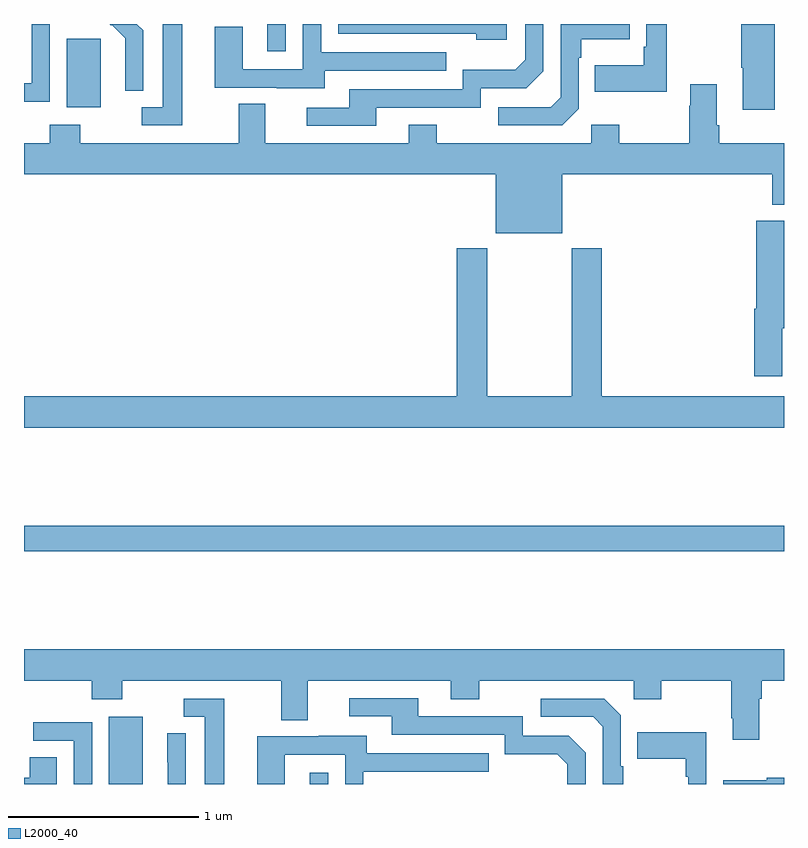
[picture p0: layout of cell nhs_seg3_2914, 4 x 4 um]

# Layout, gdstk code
import gdstk
lib = gdstk.Library(unit=1e-6, precision=1e-09)
def R(c, l, rs):  # rectangles x0, y0, x1, y1
    for r in rs: c.add(gdstk.rectangle(r[:2], r[2:], *l))
def P(c, l, *ps):  # polygons
    for p in ps: c.add(gdstk.Polygon(p, *l))
L2000_40 = (2000, 40)

nhs_seg3_2914 = lib.new_cell('nhs_seg3_2914')
R(nhs_seg3_2914, L2000_40, [(263.447,672.4,263.626,672.754), (264.503,672.4,264.6,672.46), (263,673.624,267,673.76), (263.225,675.962,263.404,676.323), (264.281,676.257,264.378,676.4)])
P(nhs_seg3_2914, L2000_40, [(266.951,676.4),(266.776,676.4),(266.776,676.171),(266.783,676.171),(266.783,675.948),(266.951,675.948)],
  [(264.853,675.96),(265.404,675.96),(265.404,676.062),(265.644,676.062),(265.734,676.152),(265.734,676.4),(265.638,676.4),(265.638,676.212),(265.585,676.159),(265.308,676.159),(265.308,676.056),(264.713,676.056),(264.713,675.96),(264.489,675.96),(264.489,675.864),(264.853,675.864)],
  [(263.136,676.4),(263.04,676.4),(263.04,676.089),(263,676.089),(263,675.991),(263.136,675.991)],
  [(263.628,676.366),(263.594,676.4),(263.452,676.4),(263.46,676.392),(263.463,676.395),(263.534,676.325),(263.534,676.202),(263.532,676.202),(263.532,676.048),(263.628,676.048)],
  [(265.54,676.4),(264.654,676.4),(264.654,676.35),(265.379,676.35),(265.379,676.316),(265.54,676.316)],
  [(265.92,675.954),(265.92,676.223),(265.933,676.223),(265.933,676.319),(266.189,676.319),(266.189,676.4),(265.824,676.4),(265.824,676.014),(265.773,675.963),(265.497,675.963),(265.497,675.867),(265.833,675.867)],
  [(266.383,676.4),(266.274,676.4),(266.274,676.279),(266.262,676.279),(266.262,676.183),(266.005,676.183),(266.005,676.043),(266.383,676.043)],
  [(264.583,676.155),(265.223,676.155),(265.223,676.251),(264.564,676.251),(264.564,676.4),(264.468,676.4),(264.468,676.161),(264.15,676.161),(264.15,676.385),(264.005,676.385),(264.005,676.065),(264.329,676.065),(264.329,676.061),(264.583,676.061)],
  [(263.833,676.4),(263.729,676.4),(263.729,675.963),(263.619,675.963),(263.619,675.867),(263.833,675.867)],
  [(265.834,675.608),(266.939,675.608),(266.939,675.449),(267,675.449),(267,675.772),(266.66,675.772),(266.66,675.868),(266.647,675.868),(266.647,676.084),(266.507,676.084),(266.507,675.971),(266.5,675.971),(266.5,675.772),(266.133,675.772),(266.133,675.871),(265.986,675.871),(265.986,675.772),(265.173,675.772),(265.173,675.871),(265.025,675.871),(265.025,675.772),(264.271,675.772),(264.271,675.98),(264.131,675.98),(264.131,675.772),(263.295,675.772),(263.295,675.871),(263.135,675.871),(263.135,675.772),(263,675.772),(263,675.608),(265.484,675.608),(265.484,675.299),(265.834,675.299)],
  [(266.992,674.798),(267,674.798),(267,675.364),(266.855,675.364),(266.855,674.902),(266.843,674.902),(266.843,674.547),(266.992,674.547)],
  [(267,674.44),(266.042,674.44),(266.042,675.22),(265.882,675.22),(265.882,674.44),(265.437,674.44),(265.437,675.22),(265.277,675.22),(265.277,674.44),(263,674.44),(263,674.276),(267,674.276)],
  [(266.869,672.848),(266.882,672.848),(266.882,672.944),(267,672.944),(267,673.108),(263,673.108),(263,672.944),(263.357,672.944),(263.357,672.845),(263.517,672.845),(263.517,672.944),(264.353,672.944),(264.353,672.736),(264.493,672.736),(264.493,672.944),(265.247,672.944),(265.247,672.845),(265.395,672.845),(265.395,672.944),(266.208,672.944),(266.208,672.845),(266.355,672.845),(266.355,672.944),(266.722,672.944),(266.722,672.745),(266.729,672.745),(266.729,672.633),(266.869,672.633)],
  [(265.956,672.564),(265.866,672.654),(265.626,672.654),(265.626,672.756),(265.075,672.756),(265.075,672.852),(264.711,672.852),(264.711,672.756),(264.935,672.756),(264.935,672.66),(265.53,672.66),(265.53,672.557),(265.807,672.557),(265.86,672.504),(265.86,672.4),(265.956,672.4)],
  [(266.155,672.493),(266.142,672.493),(266.142,672.762),(266.055,672.849),(265.719,672.849),(265.719,672.753),(265.995,672.753),(266.046,672.702),(266.046,672.4),(266.155,672.4)],
  [(264.055,672.849),(263.841,672.849),(263.841,672.753),(263.951,672.753),(263.951,672.4),(264.055,672.4)],
  [(263.358,672.726),(263.049,672.726),(263.049,672.627),(263.262,672.627),(263.262,672.4),(263.358,672.4)],
  [(266.592,672.673),(266.227,672.673),(266.227,672.533),(266.484,672.533),(266.484,672.437),(266.496,672.437),(266.496,672.4),(266.592,672.4)],
  [(263.85,672.668),(263.754,672.668),(263.754,672.514),(263.756,672.514),(263.756,672.4),(263.85,672.4)],
  [(264.372,672.555),(264.69,672.555),(264.69,672.4),(264.786,672.4),(264.786,672.465),(265.445,672.465),(265.445,672.561),(264.805,672.561),(264.805,672.655),(264.551,672.655),(264.551,672.651),(264.227,672.651),(264.227,672.4),(264.372,672.4)],
  [(263.173,672.542),(263.03,672.542),(263.03,672.434),(263,672.434),(263,672.4),(263.173,672.4)],
  [(267,672.434),(266.909,672.434),(266.909,672.421),(266.679,672.421),(266.679,672.4),(267,672.4)])

lib.write_gds('nhs_seg3_2914.gds')
